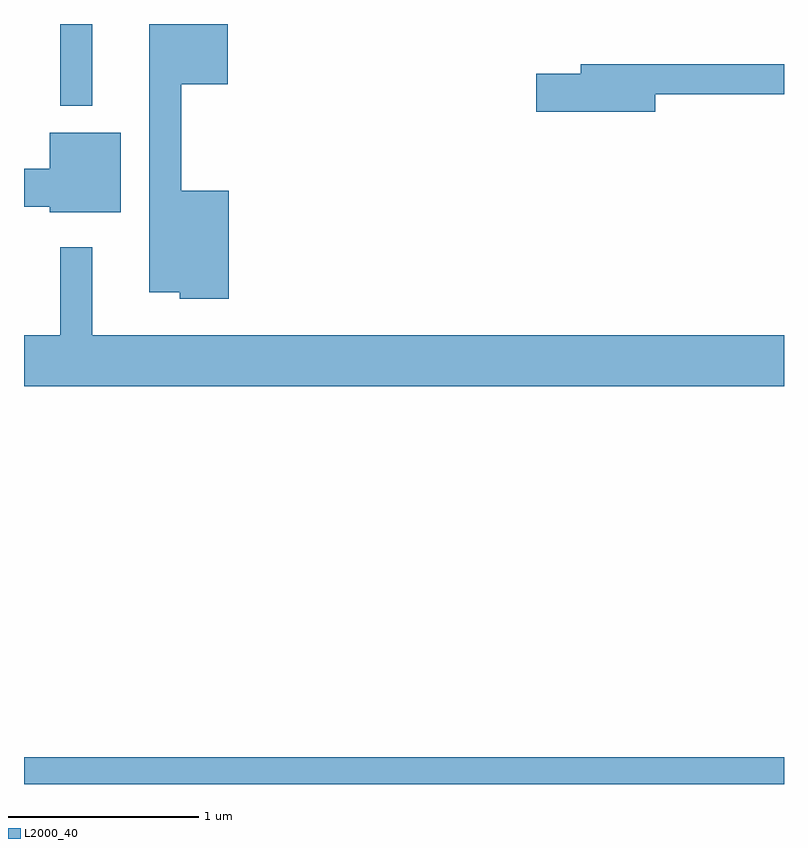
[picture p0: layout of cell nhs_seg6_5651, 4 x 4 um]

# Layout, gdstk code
import gdstk
lib = gdstk.Library(unit=1e-6, precision=1e-09)
def R(c, l, rs):  # rectangles x0, y0, x1, y1
    for r in rs: c.add(gdstk.rectangle(r[:2], r[2:], *l))
def P(c, l, *ps):  # polygons
    for p in ps: c.add(gdstk.Polygon(p, *l))
L2000_40 = (2000, 40)

nhs_seg6_5651 = lib.new_cell('nhs_seg6_5651')
R(nhs_seg6_5651, L2000_40, [(357.611,1550.162,361.611,1550.304), (357.801,1553.733,357.969,1554.162)])
P(nhs_seg6_5651, L2000_40, [(358.689,1553.284),(358.439,1553.284),(358.439,1553.846),(358.684,1553.846),(358.684,1554.162),(358.271,1554.162),(358.271,1552.751),(358.431,1552.751),(358.431,1552.716),(358.689,1552.716)],
  [(360.934,1553.791),(361.611,1553.791),(361.611,1553.949),(360.541,1553.949),(360.541,1553.899),(360.306,1553.899),(360.306,1553.701),(360.934,1553.701)],
  [(358.119,1553.589),(357.746,1553.589),(357.746,1553.399),(357.611,1553.399),(357.611,1553.201),(357.746,1553.201),(357.746,1553.171),(358.119,1553.171)],
  [(361.611,1552.524),(357.969,1552.524),(357.969,1552.988),(357.801,1552.988),(357.801,1552.524),(357.611,1552.524),(357.611,1552.256),(361.611,1552.256)])

lib.write_gds('nhs_seg6_5651.gds')
